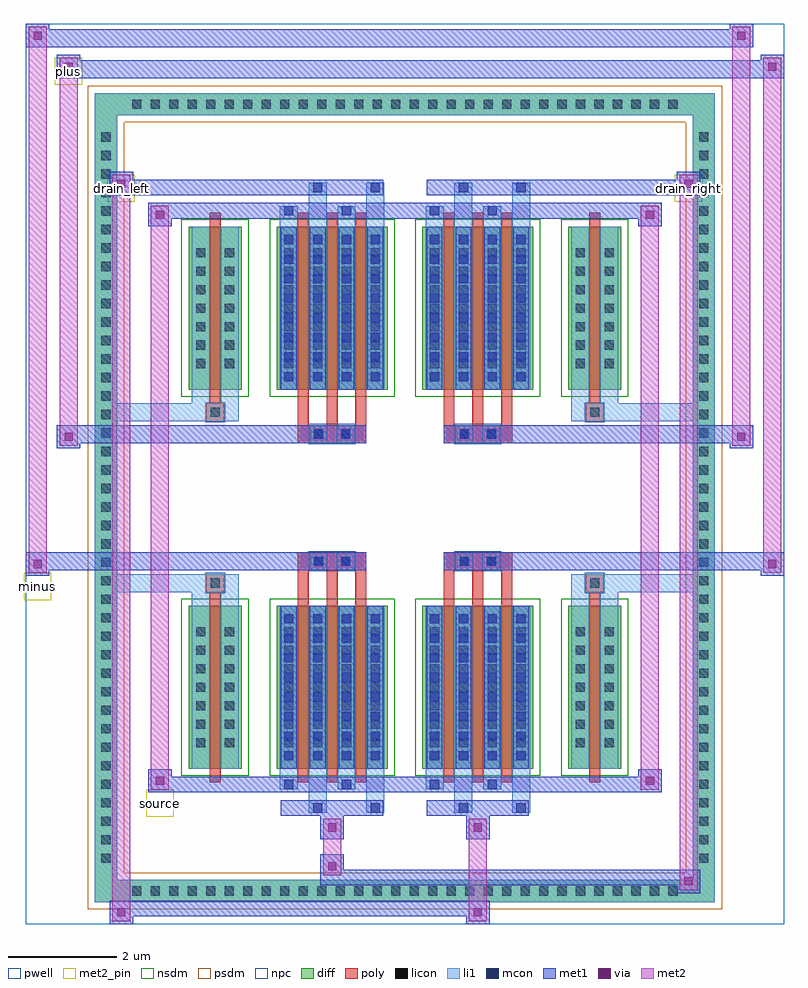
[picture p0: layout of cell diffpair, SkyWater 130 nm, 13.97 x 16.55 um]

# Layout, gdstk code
import gdstk
lib = gdstk.Library(unit=1e-6, precision=5e-09)
def R(c, l, rs):  # rectangles x0, y0, x1, y1
    for r in rs: c.add(gdstk.rectangle(r[:2], r[2:], *l))
def A(c, l, x, y, w, h, nx, ny, dx, dy):  # array of equal rectangles
    R(c, l, [(x+i*dx, y+j*dy, x+i*dx+w, y+j*dy+h) for i in range(nx) for j in range(ny)])
def P(c, l, *ps):  # polygons
    for p in ps: c.add(gdstk.Polygon(p, *l))
pwell = (64, 44)
diff = (65, 20)
poly = (66, 20)
licon = (66, 44)
li1 = (67, 20)
mcon = (67, 44)
met1 = (68, 20)
via = (68, 44)
met2_pin = (69, 16)
met2 = (69, 20)
nsdm = (93, 44)
psdm = (94, 20)
npc = (95, 20)

diffpair = lib.new_cell('diffpair')
R(diffpair, pwell, [(-6.97,-7.84,6.97,8.71), (-4.29,-6.03,-0.01,-0.805), (0.01,-6.03,4.29,-0.805), (-4.29,0.805,-0.01,6.03), (0.01,0.805,4.29,6.03)])
A(diffpair, diff, -5.135, -7.44, 0.41, 0.41, 30, 2, 0.34, 14.47)
A(diffpair, diff, -5.7, -6.835, 0.41, 0.41, 1, 40, 0, 0.34)
A(diffpair, diff, 5.29, -6.835, 0.41, 0.41, 1, 40, 0, 0.34)
R(diffpair, diff, [(-5.135,-7.44,5.135,-7.03), (-5.7,-6.835,-5.29,6.835), (5.29,-6.835,5.7,6.835), (-3.98,-4.985,-3,-1.985), (-2.36,-4.985,-0.32,-1.985), (0.32,-4.985,2.36,-1.985), (3,-4.985,3.98,-1.985), (-3.98,1.985,-3,4.985), (-2.36,1.985,-0.32,4.985), (0.32,1.985,2.36,4.985), (3,1.985,3.98,4.985), (-5.135,7.03,5.135,7.44)])
P(diffpair, diff, [(5.7,7.44),(-5.7,7.44),(-5.7,-7.03),(-5.29,-7.03),(-5.29,7.03),(5.29,7.03),(5.29,-7.03),(-5.29,-7.03),(-5.7,-7.03),(-5.7,-7.44),(5.7,-7.44)])
A(diffpair, poly, -1.97, -5.235, 0.2, 3.5, 3, 2, 0.53, 6.97)
A(diffpair, poly, 0.71, -5.235, 0.2, 3.5, 3, 2, 0.53, 6.97)
A(diffpair, poly, -1.97, -1.735, 0.2, 0.4, 3, 2, 0.53, 3.07)
A(diffpair, poly, 0.71, -1.735, 0.2, 0.4, 3, 2, 0.53, 3.07)
R(diffpair, poly, [(-3.59,-5.235,-3.39,-1.735), (3.39,-5.235,3.59,-1.735), (-3.655,-1.735,-3.325,-1.405), (-3.655,-1.735,-3.325,-1.405), (3.325,-1.735,3.655,-1.405), (3.325,-1.735,3.655,-1.405), (-1.97,-1.335,-0.71,-1.005), (-1.755,-1.335,-1.425,-1.005), (-1.255,-1.335,-0.925,-1.005), (0.71,-1.335,1.97,-1.005), (0.925,-1.335,1.255,-1.005), (1.425,-1.335,1.755,-1.005), (-1.97,1.005,-0.71,1.335), (-1.755,1.005,-1.425,1.335), (-1.255,1.005,-0.925,1.335), (0.71,1.005,1.97,1.335), (0.925,1.005,1.255,1.335), (1.425,1.005,1.755,1.335), (-3.655,1.405,-3.325,1.735), (-3.655,1.405,-3.325,1.735), (3.325,1.405,3.655,1.735), (3.325,1.405,3.655,1.735), (-3.59,1.735,-3.39,5.235), (3.39,1.735,3.59,5.235)])
A(diffpair, licon, -5.015, -7.32, 0.17, 0.17, 30, 2, 0.34, 14.47)
A(diffpair, licon, -5.58, -6.715, 0.17, 0.17, 1, 40, 0, 0.34)
A(diffpair, licon, 5.41, -6.715, 0.17, 0.17, 1, 40, 0, 0.34)
A(diffpair, licon, -3.84, -4.59, 0.17, 0.17, 1, 7, 0, 0.34)
A(diffpair, licon, -3.31, -4.59, 0.17, 0.17, 1, 7, 0, 0.34)
A(diffpair, licon, -2.22, -4.59, 0.17, 0.17, 4, 7, 0.53, 0.34)
A(diffpair, licon, 0.46, -4.59, 0.17, 0.17, 4, 7, 0.53, 0.34)
A(diffpair, licon, 3.14, -4.59, 0.17, 0.17, 1, 7, 0, 0.34)
A(diffpair, licon, 3.67, -4.59, 0.17, 0.17, 1, 7, 0, 0.34)
A(diffpair, licon, -3.84, 2.38, 0.17, 0.17, 1, 7, 0, 0.34)
A(diffpair, licon, -3.31, 2.38, 0.17, 0.17, 1, 7, 0, 0.34)
A(diffpair, licon, -2.22, 2.38, 0.17, 0.17, 4, 7, 0.53, 0.34)
A(diffpair, licon, 0.46, 2.38, 0.17, 0.17, 4, 7, 0.53, 0.34)
A(diffpair, licon, 3.14, 2.38, 0.17, 0.17, 1, 7, 0, 0.34)
A(diffpair, licon, 3.67, 2.38, 0.17, 0.17, 1, 7, 0, 0.34)
R(diffpair, licon, [(-3.575,-1.655,-3.405,-1.485), (3.405,-1.655,3.575,-1.485), (-1.675,-1.255,-1.505,-1.085), (-1.175,-1.255,-1.005,-1.085), (1.005,-1.255,1.175,-1.085), (1.505,-1.255,1.675,-1.085), (-1.675,1.085,-1.505,1.255), (-1.175,1.085,-1.005,1.255), (1.005,1.085,1.175,1.255), (1.505,1.085,1.675,1.255), (-3.575,1.485,-3.405,1.655), (3.405,1.485,3.575,1.655)])
A(diffpair, li1, -5.095, -7.4, 0.33, 0.33, 30, 2, 0.34, 14.47)
A(diffpair, li1, -5.66, -6.795, 0.33, 0.33, 1, 40, 0, 0.34)
A(diffpair, li1, 5.33, -6.795, 0.33, 0.33, 1, 40, 0, 0.34)
A(diffpair, li1, -2.3, -4.985, 0.33, 3, 4, 2, 0.53, 6.97)
A(diffpair, li1, 0.38, -4.985, 0.33, 3, 4, 2, 0.53, 6.97)
A(diffpair, li1, -2.22, -4.83, 0.17, 0.17, 4, 8, 0.53, 0.36)
A(diffpair, li1, -2.22, -4.83, 0.17, 2.69, 4, 2, 0.53, 6.97)
A(diffpair, li1, 0.46, -4.83, 0.17, 0.17, 4, 8, 0.53, 0.36)
A(diffpair, li1, 0.46, -4.83, 0.17, 2.69, 4, 2, 0.53, 6.97)
A(diffpair, li1, -3.92, -4.67, 0.33, 0.33, 1, 7, 0, 0.34)
A(diffpair, li1, -3.39, -4.67, 0.33, 0.33, 1, 7, 0, 0.34)
A(diffpair, li1, -2.3, -4.67, 0.33, 0.33, 4, 7, 0.53, 0.34)
A(diffpair, li1, 0.38, -4.67, 0.33, 0.33, 4, 7, 0.53, 0.34)
A(diffpair, li1, 3.06, -4.67, 0.33, 0.33, 1, 7, 0, 0.34)
A(diffpair, li1, 3.59, -4.67, 0.33, 0.33, 1, 7, 0, 0.34)
A(diffpair, li1, -2.22, 2.14, 0.17, 0.17, 4, 8, 0.53, 0.36)
A(diffpair, li1, 0.46, 2.14, 0.17, 0.17, 4, 8, 0.53, 0.36)
A(diffpair, li1, -3.92, 2.3, 0.33, 0.33, 1, 7, 0, 0.34)
A(diffpair, li1, -3.39, 2.3, 0.33, 0.33, 1, 7, 0, 0.34)
A(diffpair, li1, -2.3, 2.3, 0.33, 0.33, 4, 7, 0.53, 0.34)
A(diffpair, li1, 0.38, 2.3, 0.33, 0.33, 4, 7, 0.53, 0.34)
A(diffpair, li1, 3.06, 2.3, 0.33, 0.33, 1, 7, 0, 0.34)
A(diffpair, li1, 3.59, 2.3, 0.33, 0.33, 1, 7, 0, 0.34)
R(diffpair, li1, [(-5.7,-7.44,-5.29,-7.03), (-5.7,-7.44,-5.29,-7.03), (-5.29,-7.44,5.29,-7.03), (5.29,-7.44,5.7,-7.03), (5.29,-7.44,5.7,-7.03), (-5.7,-7.03,-5.29,7.03), (5.29,-7.03,5.7,7.03), (-1.77,-5.79,-1.44,-4.985), (-1.69,-5.79,-1.52,-5.62), (-0.71,-5.79,-0.38,-4.985), (-0.63,-5.79,-0.46,-5.62), (0.91,-5.79,1.24,-4.985), (0.99,-5.79,1.16,-5.62), (1.97,-5.79,2.3,-4.985), (2.05,-5.79,2.22,-5.62), (-2.3,-5.36,-1.97,-4.985), (-2.22,-5.36,-2.05,-5.19), (-1.24,-5.36,-0.91,-4.985), (-1.16,-5.36,-0.99,-5.19), (0.38,-5.36,0.71,-4.985), (0.46,-5.36,0.63,-5.19), (1.44,-5.36,1.77,-4.985), (1.52,-5.36,1.69,-5.19), (-3.92,-4.985,-3.59,-1.985), (-3.39,-4.985,-3.06,-1.985), (3.06,-4.985,3.39,-1.985), (3.59,-4.985,3.92,-1.985), (-3.92,-1.985,-3.59,-1.405), (-3.39,-1.985,-3.06,-1.405), (3.06,-1.985,3.39,-1.405), (3.59,-1.985,3.92,-1.405), (-5.7,-1.735,-3.655,-1.405), (-3.92,-1.735,-3.655,-1.405), (-3.655,-1.735,-3.325,-1.405), (-3.325,-1.735,-3.06,-1.405), (3.06,-1.735,3.325,-1.405), (3.325,-1.735,3.655,-1.405), (3.325,-1.735,5.7,-1.405), (3.655,-1.735,3.92,-1.405), (-1.755,-1.335,-1.425,-1.005), (-1.255,-1.335,-0.925,-1.005), (0.925,-1.335,1.255,-1.005), (1.425,-1.335,1.755,-1.005), (-1.755,1.005,-1.425,1.335), (-1.255,1.005,-0.925,1.335), (0.925,1.005,1.255,1.335), (1.425,1.005,1.755,1.335), (-5.7,1.405,-3.655,1.735), (-3.92,1.405,-3.655,1.735), (-3.92,1.405,-3.59,1.985), (-3.655,1.405,-3.325,1.735), (-3.39,1.405,-3.06,1.985), (-3.325,1.405,-3.06,1.735), (3.06,1.405,3.325,1.735), (3.06,1.405,3.39,1.985), (3.325,1.405,3.655,1.735), (3.325,1.405,5.7,1.735), (3.59,1.405,3.92,1.985), (3.655,1.405,3.92,1.735), (-3.92,1.985,-3.59,4.985), (-3.39,1.985,-3.06,4.985), (3.06,1.985,3.39,4.985), (3.59,1.985,3.92,4.985), (-2.3,4.985,-1.97,5.36), (-1.77,4.985,-1.44,5.79), (-1.24,4.985,-0.91,5.36), (-0.71,4.985,-0.38,5.79), (0.38,4.985,0.71,5.36), (0.91,4.985,1.24,5.79), (1.44,4.985,1.77,5.36), (1.97,4.985,2.3,5.79), (-2.22,5.19,-2.05,5.36), (-1.16,5.19,-0.99,5.36), (0.46,5.19,0.63,5.36), (1.52,5.19,1.69,5.36), (-1.69,5.62,-1.52,5.79), (-0.63,5.62,-0.46,5.79), (0.99,5.62,1.16,5.79), (2.05,5.62,2.22,5.79), (-5.7,7.03,-5.29,7.44), (-5.7,7.03,-5.29,7.44), (-5.29,7.03,5.29,7.44), (5.29,7.03,5.7,7.44), (5.29,7.03,5.7,7.44)])
A(diffpair, mcon, -2.22, -4.83, 0.17, 0.17, 4, 8, 0.53, 0.36)
A(diffpair, mcon, 0.46, -4.83, 0.17, 0.17, 4, 8, 0.53, 0.36)
A(diffpair, mcon, -2.22, 2.14, 0.17, 0.17, 4, 8, 0.53, 0.36)
A(diffpair, mcon, 0.46, 2.14, 0.17, 0.17, 4, 8, 0.53, 0.36)
R(diffpair, mcon, [(-1.69,-5.79,-1.52,-5.62), (-0.63,-5.79,-0.46,-5.62), (0.99,-5.79,1.16,-5.62), (2.05,-5.79,2.22,-5.62), (-2.22,-5.36,-2.05,-5.19), (-1.16,-5.36,-0.99,-5.19), (0.46,-5.36,0.63,-5.19), (1.52,-5.36,1.69,-5.19), (-1.675,-1.255,-1.505,-1.085), (-1.175,-1.255,-1.005,-1.085), (1.005,-1.255,1.175,-1.085), (1.505,-1.255,1.675,-1.085), (-1.675,1.085,-1.505,1.255), (-1.175,1.085,-1.005,1.255), (1.005,1.085,1.175,1.255), (1.505,1.085,1.675,1.255), (-2.22,5.19,-2.05,5.36), (-1.16,5.19,-0.99,5.36), (0.46,5.19,0.63,5.36), (1.52,5.19,1.69,5.36), (-1.69,5.62,-1.52,5.79), (-0.63,5.62,-0.46,5.79), (0.99,5.62,1.16,5.79), (2.05,5.62,2.22,5.79)])
A(diffpair, met1, -2.28, -4.985, 0.29, 3, 4, 2, 0.53, 6.97)
A(diffpair, met1, 0.4, -4.985, 0.29, 3, 4, 2, 0.53, 6.97)
A(diffpair, met1, -2.28, -4.89, 0.29, 0.29, 4, 8, 0.53, 0.36)
A(diffpair, met1, 0.4, -4.89, 0.29, 0.29, 4, 8, 0.53, 0.36)
A(diffpair, met1, -2.28, 2.08, 0.29, 0.29, 4, 8, 0.53, 0.36)
A(diffpair, met1, 0.4, 2.08, 0.29, 0.29, 4, 8, 0.53, 0.36)
R(diffpair, met1, [(-5.43,-7.84,-5,-7.41), (1.125,-7.84,1.555,-7.41), (-5.43,-7.7,1.555,-7.41), (5,-7.27,5.43,-6.84), (-1.555,-7.13,5.43,-6.84), (-1.555,-6.99,-1.125,-6.56), (-1.555,-6.28,-1.125,-5.85), (1.125,-6.28,1.555,-5.85), (-2.28,-5.85,-0.4,-5.56), (-1.75,-5.85,-1.46,-5.56), (-0.69,-5.85,-0.4,-5.56), (0.4,-5.85,2.28,-5.56), (0.93,-5.85,1.22,-5.56), (1.99,-5.85,2.28,-5.56), (-4.72,-5.42,-4.29,-4.99), (-4.72,-5.42,-2.28,-5.13), (-2.28,-5.42,-1.99,-5.13), (-2.28,-5.42,-0.4,-5.13), (-1.22,-5.42,-0.93,-5.13), (-0.4,-5.42,0.4,-5.13), (0.4,-5.42,0.69,-5.13), (0.4,-5.42,2.28,-5.13), (1.46,-5.42,1.75,-5.13), (2.28,-5.42,4.72,-5.13), (4.29,-5.42,4.72,-4.99), (-6.97,-1.435,-6.54,-1.005), (6.54,-1.435,6.97,-1.005), (-6.97,-1.335,-0.71,-1.005), (-1.97,-1.335,-0.71,-1.005), (0.71,-1.335,1.97,-1.005), (0.71,-1.335,6.97,-1.005), (-1.735,-1.315,-1.445,-1.025), (-1.235,-1.315,-0.945,-1.025), (0.945,-1.315,1.235,-1.025), (1.445,-1.315,1.735,-1.025), (-6.4,0.905,-5.97,1.335), (5.97,0.905,6.4,1.335), (-6.4,1.005,-1.97,1.335), (-1.97,1.005,-0.71,1.335), (0.71,1.005,1.97,1.335), (1.97,1.005,6.4,1.335), (-1.735,1.025,-1.445,1.315), (-1.235,1.025,-0.945,1.315), (0.945,1.025,1.235,1.315), (1.445,1.025,1.735,1.315), (-4.72,4.99,-4.29,5.42), (4.29,4.99,4.72,5.42), (-4.72,5.13,-2.28,5.42), (-2.28,5.13,-1.99,5.42), (-2.28,5.13,-0.4,5.42), (-1.22,5.13,-0.93,5.42), (-0.4,5.13,0.4,5.42), (0.4,5.13,0.69,5.42), (0.4,5.13,2.28,5.42), (1.46,5.13,1.75,5.42), (2.28,5.13,4.72,5.42), (-5.43,5.56,-5,5.99), (-5.43,5.56,-2.28,5.85), (-2.28,5.56,-0.4,5.85), (-1.75,5.56,-1.46,5.85), (-0.69,5.56,-0.4,5.85), (0.4,5.56,2.28,5.85), (0.93,5.56,1.22,5.85), (1.99,5.56,2.28,5.85), (2.28,5.56,5.43,5.85), (5,5.56,5.43,5.99), (-6.4,7.71,-5.97,8.14), (-6.4,7.71,-4.29,8.04), (-4.29,7.71,4.29,8.04), (4.29,7.71,6.97,8.04), (6.54,7.71,6.97,8.14), (-6.97,8.28,-6.54,8.71), (-6.97,8.28,-4.29,8.61), (-4.29,8.28,4.29,8.61), (4.29,8.28,6.4,8.61), (5.97,8.28,6.4,8.71)])
R(diffpair, via, [(-5.29,-7.7,-5.14,-7.55), (1.265,-7.7,1.415,-7.55), (5.14,-7.13,5.29,-6.98), (-1.415,-6.85,-1.265,-6.7), (-1.415,-6.14,-1.265,-5.99), (1.265,-6.14,1.415,-5.99), (-4.58,-5.28,-4.43,-5.13), (4.43,-5.28,4.58,-5.13), (-6.83,-1.295,-6.68,-1.145), (6.68,-1.295,6.83,-1.145), (-6.26,1.045,-6.11,1.195), (6.11,1.045,6.26,1.195), (-4.58,5.13,-4.43,5.28), (4.43,5.13,4.58,5.28), (-5.29,5.7,-5.14,5.85), (5.14,5.7,5.29,5.85), (-6.26,7.85,-6.11,8), (6.68,7.85,6.83,8), (-6.83,8.42,-6.68,8.57), (6.11,8.42,6.26,8.57)])
R(diffpair, met2_pin, [(-4.755,-5.87,-4.255,-5.37), (-7.005,-1.885,-6.505,-1.385), (-5.465,5.44,-4.965,5.94), (4.965,5.44,5.465,5.94), (-6.435,7.59,-5.935,8.09)])
R(diffpair, met2, [(-5.38,-7.79,-5.05,-7.46), (-5.38,-7.79,-5.05,5.94), (1.175,-7.79,1.505,-7.46), (1.175,-7.46,1.505,-6.23), (5.05,-7.22,5.38,-6.89), (5.05,-7.22,5.38,5.94), (-1.505,-6.94,-1.175,-6.61), (-1.505,-6.61,-1.175,-6.23), (-1.505,-6.23,-1.175,-5.9), (1.175,-6.23,1.505,-5.9), (-4.67,-5.37,-4.34,-5.04), (-4.67,-5.37,-4.34,5.37), (4.34,-5.37,4.67,-5.04), (4.34,-5.37,4.67,5.37), (-6.92,-1.385,-6.59,-1.055), (-6.92,-1.385,-6.59,8.66), (6.59,-1.385,6.92,-1.055), (6.59,-1.385,6.92,8.09), (-6.35,0.955,-6.02,1.285), (-6.35,0.955,-6.02,8.09), (6.02,0.955,6.35,1.285), (6.02,0.955,6.35,8.66), (-4.67,5.04,-4.34,5.37), (4.34,5.04,4.67,5.37), (-5.38,5.61,-5.05,5.94), (5.05,5.61,5.38,5.94), (-6.35,7.76,-6.02,8.09), (6.59,7.76,6.92,8.09), (-6.92,8.33,-6.59,8.66), (6.02,8.33,6.35,8.66)])
P(diffpair, met2, [(6.92,-1.385),(6.92,-1.385),(6.92,-1.055),(6.92,-1.055)],
  [(6.92,7.76),(6.92,7.76),(6.92,8.09),(6.92,8.09)],
  [(-6.59,-1.385),(-6.59,-1.385),(-6.59,-1.055),(-6.59,-1.055)],
  [(-6.59,8.33),(-6.59,8.33),(-6.59,8.66),(-6.59,8.66)],
  [(6.35,0.955),(6.35,0.955),(6.35,1.285),(6.35,1.285)],
  [(6.35,8.33),(6.35,8.33),(6.35,8.66),(6.35,8.66)],
  [(-6.02,0.955),(-6.02,0.955),(-6.02,1.285),(-6.02,1.285)],
  [(-6.02,7.76),(-6.02,7.76),(-6.02,8.09),(-6.02,8.09)],
  [(-5.05,-7.79),(-5.05,-7.79),(-5.05,-7.46),(-5.05,-7.46)],
  [(-5.05,5.61),(-5.05,5.61),(-5.05,5.94),(-5.05,5.94)],
  [(5.38,-7.22),(5.38,-7.22),(5.38,-6.89),(5.38,-6.89)],
  [(5.38,5.61),(5.38,5.61),(5.38,5.94),(5.38,5.94)],
  [(-4.34,-5.37),(-4.34,-5.37),(-4.34,-5.04),(-4.34,-5.04)],
  [(-4.34,5.04),(-4.34,5.04),(-4.34,5.37),(-4.34,5.37)],
  [(4.67,-5.37),(4.67,-5.37),(4.67,-5.04),(4.67,-5.04)],
  [(4.67,5.04),(4.67,5.04),(4.67,5.37),(4.67,5.37)])
R(diffpair, nsdm, [(-4.11,-5.115,-2.87,-1.855), (-2.49,-5.115,-0.19,-1.855), (0.19,-5.115,2.49,-1.855), (2.87,-5.115,4.11,-1.855), (-4.11,1.855,-2.87,5.115), (-2.49,1.855,-0.19,5.115), (0.19,1.855,2.49,5.115), (2.87,1.855,4.11,5.115)])
P(diffpair, psdm, [(5.83,7.57),(-5.83,7.57),(-5.83,-6.9),(-5.16,-6.9),(-5.16,6.9),(5.16,6.9),(5.16,-6.9),(-5.16,-6.9),(-5.83,-6.9),(-5.83,-7.57),(5.83,-7.57)])
R(diffpair, npc, [(-3.675,-1.755,-3.305,-1.385), (3.305,-1.755,3.675,-1.385), (-1.775,-1.355,-1.405,-0.985), (-1.775,-1.355,-0.905,-0.985), (-1.775,-1.355,-0.905,-0.985), (-1.275,-1.355,-0.905,-0.985), (0.905,-1.355,1.275,-0.985), (0.905,-1.355,1.775,-0.985), (0.905,-1.355,1.775,-0.985), (1.405,-1.355,1.775,-0.985), (-1.775,0.985,-1.405,1.355), (-1.775,0.985,-0.905,1.355), (-1.775,0.985,-0.905,1.355), (-1.275,0.985,-0.905,1.355), (0.905,0.985,1.275,1.355), (0.905,0.985,1.775,1.355), (0.905,0.985,1.775,1.355), (1.405,0.985,1.775,1.355), (-3.675,1.385,-3.305,1.755), (3.305,1.385,3.675,1.755)])
diffpair.add(gdstk.Label('minus', (-6.755,-1.635), layer=69, texttype=5))
diffpair.add(gdstk.Label('drain_right', (5.215,5.69), layer=69, texttype=5))
diffpair.add(gdstk.Label('drain_left', (-5.215,5.69), layer=69, texttype=5))
diffpair.add(gdstk.Label('source', (-4.505,-5.62), layer=69, texttype=5))
diffpair.add(gdstk.Label('plus', (-6.185,7.84), layer=69, texttype=5))

lib.write_gds('diffpair.gds')
